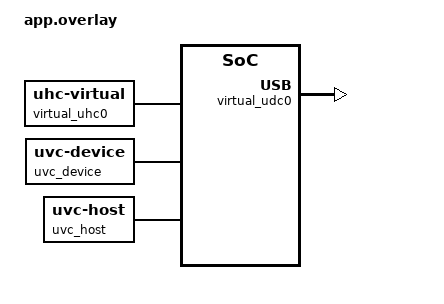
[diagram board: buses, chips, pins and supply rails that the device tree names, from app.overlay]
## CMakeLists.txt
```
# SPDX-License-Identifier: Apache-2.0

cmake_minimum_required(VERSION 3.28.0)
find_package(Zephyr REQUIRED HINTS $ENV{ZEPHYR_BASE})
project(uvc_uvb)

include(${ZEPHYR_BASE}/samples/subsys/usb/common/common.cmake)

FILE(GLOB app_sources src/*.c)
target_sources(app PRIVATE ${app_sources})
zephyr_include_directories(${ZEPHYR_BASE}/subsys/usb/host)
```

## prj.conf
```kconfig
# SPDX-FileCopyrightText: Copyright Nordic Semiconductor ASA
# SPDX-License-Identifier: Apache-2.0

CONFIG_LOG=y
CONFIG_ZTEST=y
CONFIG_VIDEO=y

CONFIG_USB_DEVICE_STACK_NEXT=y
CONFIG_USBD_VIDEO_CLASS=y
CONFIG_SAMPLE_USBD_PID=0xFFFF
CONFIG_SAMPLE_USBD_REMOTE_WAKEUP=y
CONFIG_SAMPLE_USBD_PRODUCT="Zephyr USB Test"
CONFIG_USBD_BUF_POOL_SIZE=2048

CONFIG_UHC_DRIVER=y
CONFIG_USB_HOST_STACK=y
CONFIG_USBH_VIDEO_CLASS=y
```

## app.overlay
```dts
/*
 * SPDX-FileCopyrightText: Copyright Nordic Semiconductor ASA
 * SPDX-License-Identifier: Apache-2.0
 */

/ {
	virtual_uhc0: uhc-virtual {
		compatible = "zephyr,uhc-virtual";
		maximum-speed = "full-speed";

		virtual_udc0: udc-virtual {
			compatible = "zephyr,udc-virtual";
			num-bidir-endpoints = <4>;
			maximum-speed = "full-speed";
		};
	};

	uvc_device: uvc-device {
		compatible = "zephyr,uvc-device";
	};

	uvc_host: uvc-host {
		compatible = "zephyr,uvc-host";
	};
};
```

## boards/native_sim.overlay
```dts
/*
 * SPDX-FileCopyrightText: Copyright Nordic Semiconductor ASA
 * SPDX-License-Identifier: Apache-2.0
 */

/delete-node/ &zephyr_udc0;

/ {
	zephyr_uhc0: uhc_vrt0 {
		compatible = "zephyr,uhc-virtual";

		zephyr_udc0: udc_vrt0 {
			compatible = "zephyr,udc-virtual";
			num-bidir-endpoints = <8>;
			maximum-speed = "high-speed";
		};
	};

	uvc_device: uvcd {
		compatible = "zephyr,uvc-device";
	};
};
```

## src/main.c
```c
/*
 * SPDX-FileCopyrightText: Copyright Nordic Semiconductor ASA
 * SPDX-License-Identifier: Apache-2.0
 */

#include <zephyr/device.h>
#include <zephyr/logging/log.h>
#include <zephyr/usb/usbd.h>
#include <zephyr/usb/usbh.h>
#include <zephyr/usb/class/usbd_uvc.h>
#include <zephyr/ztest.h>
#include <sample_usbd.h>

#include "../../../../../drivers/video/video_common.h"

LOG_MODULE_REGISTER(app, LOG_LEVEL_INF);

const struct video_format test_formats[] = {
	{.pixelformat = VIDEO_PIX_FMT_YUYV, .width = 640, .height = 480},
	{.pixelformat = VIDEO_PIX_FMT_YUYV, .width = 320, .height = 240},
	{.pixelformat = VIDEO_PIX_FMT_YUYV, .width = 160, .height = 120},
};

const struct device *const uvc_dev = DEVICE_DT_GET(DT_NODELABEL(uvc_device));
const struct device *const video_dev = DEVICE_DT_GET(DT_CHOSEN(zephyr_camera));

ZTEST(uvc_test, test_virtual_device_virtual_host)
{
	const struct device *uvc_dev;

	uvc_dev = device_get_binding("usbh_uvc_0");
	zassert_not_null(uvc_dev, "No USB host UVC instance available");
	LOG_INF("%s", uvc_dev->name);

	/* TODO: test the video devices here. */
}

static struct usbd_context *test_usbd;

USBH_CONTROLLER_DEFINE(test_uhs_ctx, DEVICE_DT_GET(DT_NODELABEL(zephyr_uhc0)));

struct usbh_context *const uhs_ctx = &test_uhs_ctx;

void *uvc_test_enable(void)
{
	int ret;

	uvc_device_init(uvc_dev, video_dev);

	for (size_t i = 0; i < ARRAY_SIZE(test_formats); i++) {
		struct video_format fmt = test_formats[i];

		ret = video_estimate_fmt_size(&fmt);
		zassert_ok(ret);

		ret = uvc_device_add_format(uvc_dev, &fmt);
		zassert_ok(ret);
	}

	ret = uvc_device_enable(uvc_dev);
	zassert_ok(ret, "Failed to initialize UVC device class");

	ret = usbh_init(uhs_ctx);
	zassert_ok(ret, "Failed to initialize USB host");

	ret = usbh_enable(uhs_ctx);
	zassert_ok(ret, "Failed to enable USB host");

	ret = uhc_bus_resume(uhs_ctx->dev);
	zassert_ok(ret, "Failed to signal bus resume");

	LOG_INF("Host controller enabled");

	test_usbd = sample_usbd_setup_device(NULL);
	zassert_not_null(test_usbd, "Failed to setup USB device");

	ret = usbd_init(test_usbd);
	zassert_ok(ret, "Failed to initialize device support");

	ret = usbd_enable(test_usbd);
	zassert_ok(ret, "Failed to enable device support");

	LOG_INF("Device support enabled");

	/* Allow the host time to reset the device. */
	k_msleep(200);

	return NULL;
}

void uvc_test_shutdown(void *f)
{
	int ret;

	ret = usbd_disable(test_usbd);
	zassert_ok(ret, "Failed to disable device support");

	ret = usbd_shutdown(test_usbd);
	zassert_ok(ret, "Failed to shutdown device support");

	ret = uvc_device_shutdown(uvc_dev);
	zassert_ok(ret, "Failed to shutdown UVC device class");

	LOG_INF("Device support disabled");

	ret = usbh_disable(uhs_ctx);
	zassert_ok(ret, "Failed to disable USB host");

	ret = usbh_shutdown(uhs_ctx);
	zassert_ok(ret, "Failed to shutdown host support");

	LOG_INF("Host controller disabled");
}

ZTEST_SUITE(uvc_test, NULL, uvc_test_enable, NULL, NULL, uvc_test_shutdown);
```
